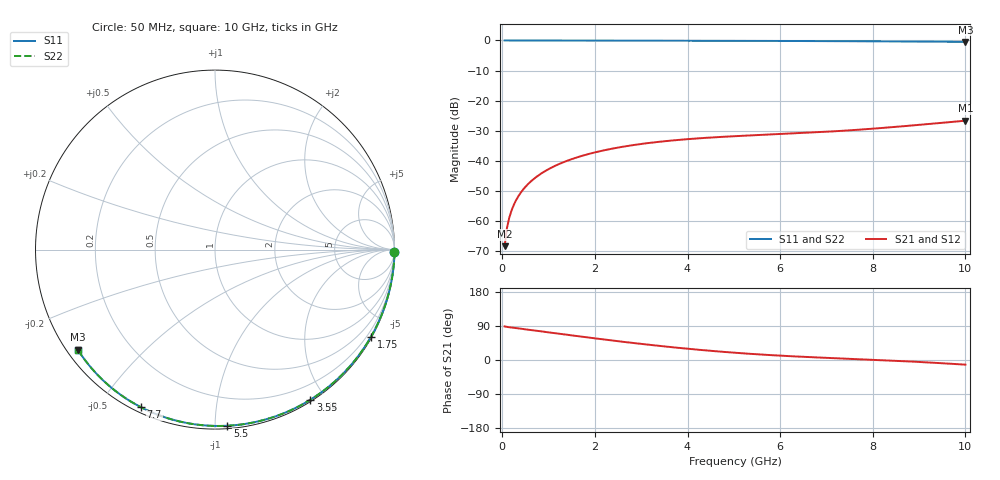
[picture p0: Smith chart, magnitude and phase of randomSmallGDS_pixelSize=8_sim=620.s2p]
! freq	dB(S11)	phase(S11)	dB(S12)	phase(S12)
!  dB(S21)	phase(S21)	dB(S22)	phase(S22)
!S-par simulation data
#  GHz  S  DB  R 50
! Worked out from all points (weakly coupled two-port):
!   200 points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, 50 MHz to 10 GHz, reference 50 ohm
!   highest |S21| = -26.63 dB at 10 GHz (marker M1); lowest = -68.3 dB at 50 MHz (marker M2)
!   lowest |S11| = -0.5 dB at 10 GHz (marker M3), VSWR 36.24, Z = 1.53 - j16.3 ohm
!   |S11| at or under -10 dB: nowhere
!   |S22| runs from -0.5 to 0.0 dB; largest |S21 - S12| = 0
!   S11 on the Smith chart (normalised r, x): 50 MHz: open; 1.75 GHz: 0.03, -3.84; 3.55 GHz: 0.02, -1.82; 5.5 GHz: 0.02, -1.07; 7.7 GHz: 0.02, -0.64; 10 GHz: 0.03, -0.33
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0.05  -0.00 -0.8  -68.29 88.6  -68.29 88.6  -0.00 -0.8
0.1  -0.00 -1.7  -62.33 87.4  -62.33 87.4  -0.00 -1.7
0.15  -0.00 -2.5  -58.87 86.4  -58.87 86.4  -0.00 -2.5
0.2  -0.00 -3.4  -56.42 85.6  -56.42 85.6  -0.00 -3.4
0.25  -0.00 -4.2  -54.51 84.8  -54.51 84.8  -0.00 -4.2
0.35  -0.00 -5.9  -51.64 83.3  -51.64 83.3  -0.00 -5.9
0.5  -0.01 -8.5  -48.59 81.0  -48.59 81.0  -0.01 -8.5
0.7  -0.01 -11.8  -45.72 77.8  -45.72 77.8  -0.01 -11.8
1  -0.02 -16.8  -42.71 73.0  -42.71 73.0  -0.02 -16.8
1.35  -0.03 -22.6  -40.23 67.3  -40.23 67.3  -0.03 -22.6
1.75  -0.04 -29.2  -38.17 61.0  -38.17 61.0  -0.04 -29.2
2.5  -0.05 -41.3  -35.55 49.6  -35.55 49.6  -0.05 -41.3
3.4  -0.07 -55.3  -33.62 37.1  -33.62 37.1  -0.07 -55.3
3.55  -0.08 -57.6  -33.38 35.2  -33.38 35.2  -0.08 -57.6
4.3  -0.10 -68.8  -32.42 26.4  -32.42 26.4  -0.10 -68.8
5.05  -0.12 -79.7  -31.75 18.9  -31.75 18.9  -0.12 -79.7
5.5  -0.14 -86.0  -31.42 15.1  -31.42 15.1  -0.14 -86.0
6.7  -0.20 -102.2  -30.56 7.3  -30.56 7.3  -0.20 -102.2
7.7  -0.26 -115.1  -29.63 2.2  -29.63 2.2  -0.26 -115.2
8.35  -0.31 -123.3  -28.87 -1.2  -28.87 -1.2  -0.31 -123.4
9.2  -0.39 -133.9  -27.75 -6.5  -27.75 -6.5  -0.39 -134.0
10  -0.48 -143.8  -26.63 -12.3  -26.63 -12.3  -0.48 -143.9
